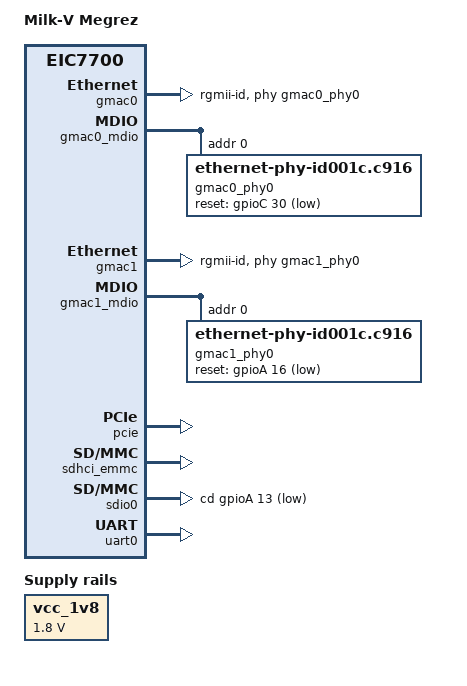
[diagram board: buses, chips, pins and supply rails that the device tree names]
// SPDX-License-Identifier: (GPL-2.0 OR MIT)
/*
 * Copyright (c) 2026 Han Gao <gaohan@iscas.ac.cn>
 */

/dts-v1/;

#include "eic7700.dtsi"
#include "eic7700-pinctrl.dtsi"
#include <dt-bindings/gpio/gpio.h>

/ {
	compatible = "milkv,megrez", "eswin,eic7700";
	model = "Milk-V Megrez";

	aliases {
		ethernet0 = &gmac0;
		ethernet1 = &gmac1;
		mmc0 = &sdhci_emmc;
		mmc1 = &sdio0;
		serial0 = &uart0;
	};

	chosen {
		stdout-path = "serial0:115200n8";
	};

	vcc_1v8: vcc1v8 {
		compatible = "regulator-fixed";
		regulator-name = "vcc1v8";
		regulator-always-on;
		regulator-boot-on;
		regulator-min-microvolt = <1800000>;
		regulator-max-microvolt = <1800000>;
	};
};

&cpu_opp_table {
	opp-1600000000 {
		opp-hz = /bits/ 64 <1600000000>;
		opp-microvolt = <900000>;
		clock-latency-ns = <70000>;
	};
};

&osc {
	clock-frequency = <24000000>;
	clock-output-names = "osc_24m";
};

&pinctrl {
	vrgmii-supply = <&vcc_1v8>;
};

&gpio13_pins {
	input-enable;
	bias-pull-up;
};

&gpio16_pins {
	input-disable;
	bias-disable;
};

&gpio94_pins {
	input-disable;
	bias-disable;
};

&gmac0 {
	phy-handle = <&gmac0_phy0>;
	phy-mode = "rgmii-id";
	pinctrl-names = "default";
	pinctrl-0 = <&gpio94_pins>;
	status = "okay";
};

&gmac0_mdio {
	gmac0_phy0: ethernet-phy@0 {
		compatible = "ethernet-phy-id001c.c916";
		reg = <0>;
		reset-gpios = <&gpioC 30 GPIO_ACTIVE_LOW>;
		reset-assert-us = <10000>;
		reset-deassert-us = <80000>;
	};
};

&gmac1 {
	phy-handle = <&gmac1_phy0>;
	/*
	 * Include the MAC's fixed 2 ns TX skew in the effective delay.
	 * The current driver subtracts it before programming the delay taps
	 * and disables the PHY TX delay through has_internal_tx_delay.
	 */
	phy-mode = "rgmii-id";
	pinctrl-names = "default";
	pinctrl-0 = <&gpio16_pins>;
	rx-internal-delay-ps = <200>;
	tx-internal-delay-ps = <2200>;
	status = "okay";
};

&gmac1_mdio {
	gmac1_phy0: ethernet-phy@0 {
		compatible = "ethernet-phy-id001c.c916";
		reg = <0>;
		reset-gpios = <&gpioA 16 GPIO_ACTIVE_LOW>;
		reset-assert-us = <10000>;
		reset-deassert-us = <80000>;
	};
};

&pcie {
	status = "okay";
};

&sdhci_emmc {
	status = "okay";
};

&sdio0 {
	status = "okay";
	pinctrl-names = "default";
	pinctrl-0 = <&gpio13_pins>;
	cd-gpios = <&gpioA 13 GPIO_ACTIVE_LOW>;
};

&uart0 {
	status = "okay";
	pinctrl-names = "default";
	pinctrl-0 = <&uart0_pins>;
};
